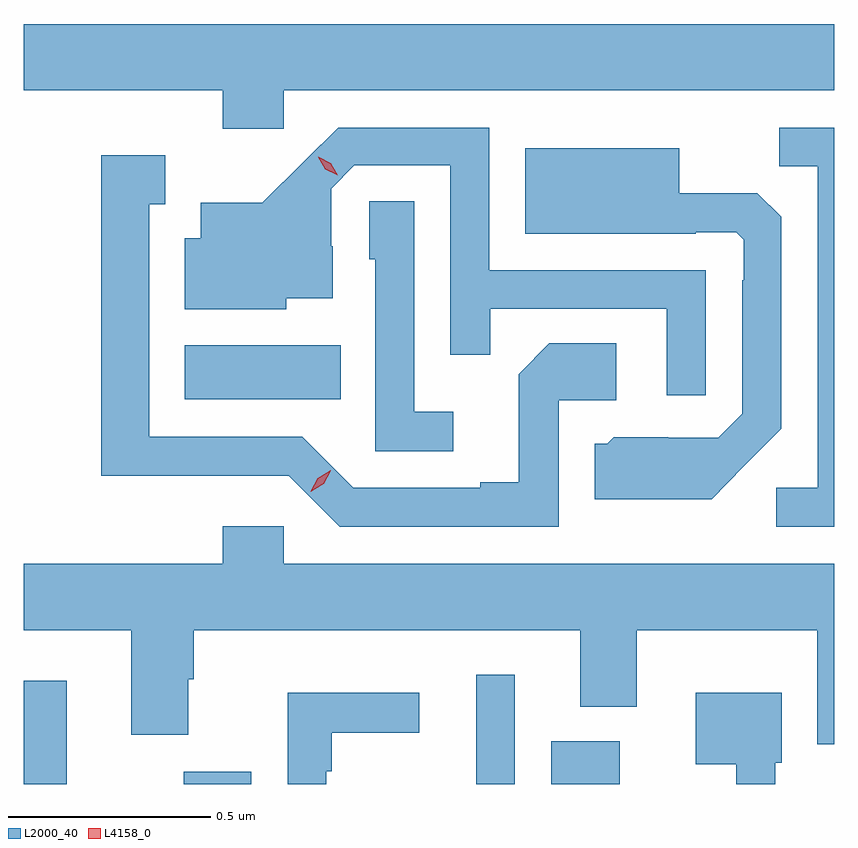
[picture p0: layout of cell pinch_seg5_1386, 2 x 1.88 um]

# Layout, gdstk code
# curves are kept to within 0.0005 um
import gdstk
lib = gdstk.Library(unit=1e-6, precision=1e-09)
def R(c, l, rs):  # rectangles x0, y0, x1, y1
    for r in rs: c.add(gdstk.rectangle(r[:2], r[2:], *l))
def P(c, l, *ps):  # polygons
    for p in ps: c.add(gdstk.Polygon(p, *l))
L2000_40 = (2000, 40)
L4158_0 = (4158, 0)

pinch_seg5_1386 = lib.new_cell('pinch_seg5_1386')
R(pinch_seg5_1386, L2000_40, [(298.146,877.693,298.252,877.948), (298.541,877.693,298.708,877.723), (299.262,877.693,299.358,877.963), (299.447,877.693,299.617,877.798), (298.544,878.642,298.928,878.776)])
P(pinch_seg5_1386, L2000_40, [(298.788,879.404),(300.146,879.404),(300.146,879.568),(298.146,879.568),(298.146,879.404),(298.637,879.404),(298.637,879.309),(298.788,879.309)],
  [(299.829,878.961),(299.295,878.961),(299.295,879.312),(298.922,879.312),(298.735,879.127),(298.583,879.127),(298.583,879.04),(298.544,879.04),(298.544,878.864),(298.794,878.864),(298.794,878.891),(298.909,878.891),(298.909,879.02),(298.905,879.02),(298.905,879.162),(298.962,879.219),(299.199,879.219),(299.199,878.752),(299.297,878.752),(299.297,878.865),(299.733,878.865),(299.733,878.652),(299.829,878.652)],
  [(300.146,879.312),(300.01,879.312),(300.01,879.217),(300.105,879.217),(300.105,878.424),(300.003,878.424),(300.003,878.328),(300.146,878.328)],
  [(299.923,878.477),(300.015,878.57),(300.015,879.092),(299.956,879.151),(299.764,879.151),(299.764,879.262),(299.384,879.262),(299.384,879.05),(299.804,879.05),(299.804,879.054),(299.904,879.054),(299.922,879.036),(299.922,878.936),(299.919,878.936),(299.919,878.607),(299.859,878.547),(299.736,878.547),(299.736,878.548),(299.602,878.548),(299.586,878.532),(299.555,878.532),(299.555,878.396),(299.843,878.396)],
  [(299.466,878.64),(299.608,878.64),(299.608,878.78),(299.443,878.78),(299.367,878.704),(299.367,878.437),(299.273,878.437),(299.273,878.424),(298.959,878.424),(298.833,878.55),(298.456,878.55),(298.456,879.123),(298.495,879.123),(298.495,879.244),(298.338,879.244),(298.338,878.453),(298.578,878.453),(298.578,878.454),(298.8,878.454),(298.926,878.328),(299.466,878.328)],
  [(299.206,878.611),(299.109,878.611),(299.109,879.131),(298.998,879.131),(298.998,878.988),(299.013,878.988),(299.013,878.514),(299.206,878.514)],
  [(298.146,878.072),(298.412,878.072),(298.412,877.815),(298.552,877.815),(298.552,877.952),(298.565,877.952),(298.565,878.072),(299.519,878.072),(299.519,877.883),(299.659,877.883),(299.659,878.072),(300.104,878.072),(300.104,877.791),(300.146,877.791),(300.146,878.236),(298.788,878.236),(298.788,878.329),(298.637,878.329),(298.637,878.236),(298.146,878.236)],
  [(300,877.746),(300.016,877.746),(300.016,877.918),(299.804,877.918),(299.804,877.742),(299.904,877.742),(299.904,877.693),(300,877.693)],
  [(298.893,877.724),(298.906,877.724),(298.906,877.82),(299.122,877.82),(299.122,877.918),(298.797,877.918),(298.797,877.693),(298.893,877.693)])
P(pinch_seg5_1386, L4158_0, [(298.921,879.195),(298.89,879.21),(298.873,879.239),(298.873,879.24),(298.873,879.24),(298.904,879.224),(298.921,879.195),(298.921,879.195)],
  [(298.854,878.414),(298.854,878.415),(298.871,878.447),(298.903,878.467),(298.903,878.467),(298.903,878.466),(298.886,878.434),(298.854,878.414)])

lib.write_gds('pinch_seg5_1386.gds')
